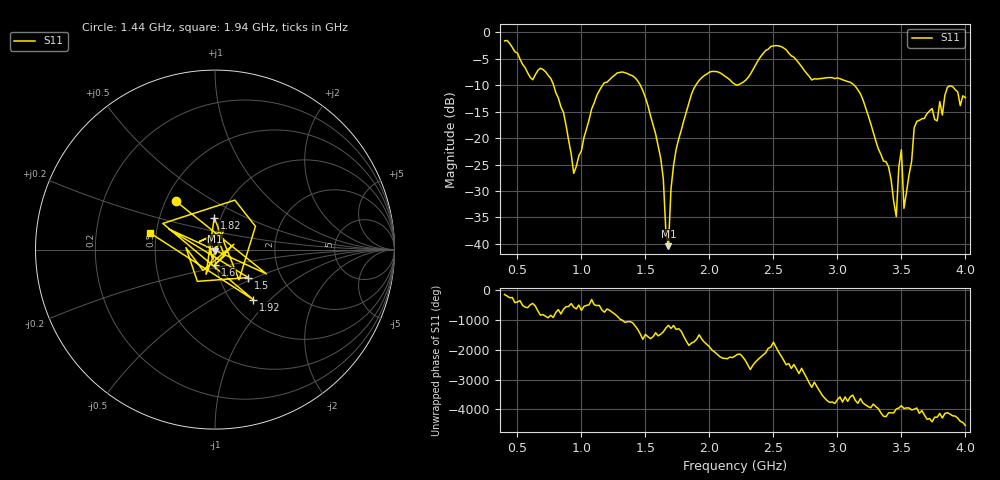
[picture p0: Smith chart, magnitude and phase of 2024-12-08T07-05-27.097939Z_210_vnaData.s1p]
!Created with skrf (http://scikit-rf.org).
# Hz S RI R 50.0
!freq ReS11 ImS11
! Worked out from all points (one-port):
!   181 points, 400 MHz to 4 GHz, reference 50 ohm
!   lowest |S11| = -40.4 dB at 1.68 GHz (marker M1), VSWR 1.02, Z = 49.9 - j0.947 ohm
!   |S11| at or under -10 dB: 783 MHz to 1.166 GHz (382.6 MHz wide, 39.3 % of centre); 1.461 GHz to 1.894 GHz (433.3 MHz wide, 25.8 % of centre); 3.132 GHz to end of sweep
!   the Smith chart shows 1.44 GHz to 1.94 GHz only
!   S11 on the Smith chart (normalised r, x): 1.44 GHz: 0.56, +0.35; 1.5 GHz: 1.37, -0.45; 1.6 GHz: 0.99, -0.17; 1.82 GHz: 0.93, +0.34; 1.92 GHz: 1.26, -0.80; 1.94 GHz: 0.46, +0.10
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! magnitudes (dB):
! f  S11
! 400 MHz  -1.6
! 720 MHz  -7.4
! 860 MHz  -15.2
! 940 MHz  -26.7
! 1.12 GHz  -12.0
! 1.3 GHz  -7.6
! 1.44 GHz  -9.2
! 1.5 GHz  -12.3
! 1.6 GHz  -21.6
! 1.68 GHz  -40.4
! 1.7 GHz  -29.6
! 1.76 GHz  -20.2
! 1.82 GHz  -15.0
! 1.92 GHz  -9.1
! 1.94 GHz  -8.6
! 2.2 GHz  -9.8
! 2.48 GHz  -2.7
! 2.66 GHz  -4.7
! 3.1 GHz  -9.4
! 3.4 GHz  -25.4
! 3.46 GHz  -34.8
! 3.5 GHz  -22.2
! 3.52 GHz  -33.3
! 3.56 GHz  -26.9
! 3.62 GHz  -16.9
! 3.78 GHz  -16.7
! 3.88 GHz  -10.1
! 4 GHz  -12.4
